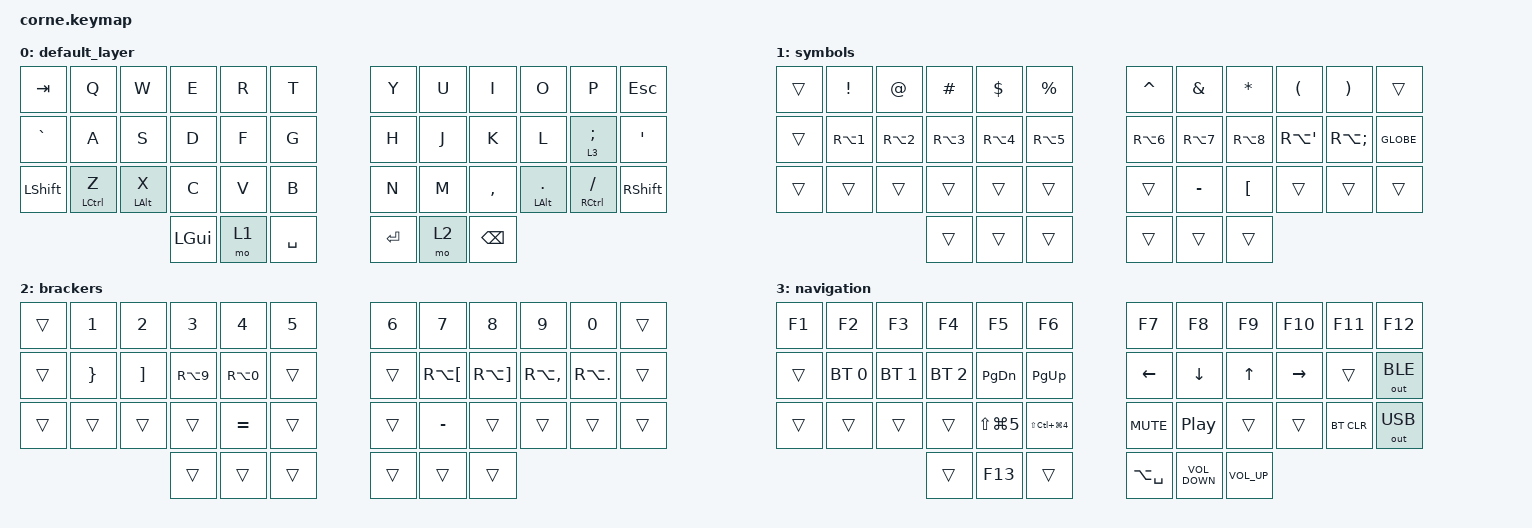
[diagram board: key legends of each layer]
/*
 * Copyright (c) 2020 The ZMK Contributors
 *
 * SPDX-License-Identifier: MIT
 */

#include <behaviors.dtsi>
#include <dt-bindings/zmk/bt.h>
#include <dt-bindings/zmk/keys.h>
#include <dt-bindings/zmk/outputs.h>

&mt {
    tapping-term-ms = <300>;
    flavor = "balanced";
    require-prior-idle-ms = <125>;
};

/ {
    combos {
        compatible = "zmk,combos";

        soft-off {
            bindings = <&soft_off>;
            key-positions = <1 2>;
            layers = <3>;
        };

        escape {
            bindings = <&kp ESCAPE>;
            key-positions = <19 20>;
            layers = <0>;
        };

        escape-left {
            bindings = <&kp ESCAPE>;
            key-positions = <0 1>;
            layers = <0>;
        };
    };

    behaviors {
        bspc_del: backspace_delete {
            compatible = "zmk,behavior-mod-morph";
            label = "BCPS_DEL";
            #binding-cells = <0>;
            bindings = <&kp BACKSPACE>, <&kp DELETE>;

            mods = <(MOD_LSFT|MOD_RSFT)>;
            keep-mods = <(MOD_RSFT)>;
        };
    };

    keymap {
        compatible = "zmk,keymap";

        default_layer {
            // -----------------------------------------------------------------------------------------
            // |  TAB |  Q  |  W  |  E  |  R  |  T  |   |  Y  |  U   |  I  |  O  |  P  | BSPC |
            // | CTRL |  A  |  S  |  D  |  F  |  G  |   |  H  |  J   |  K  |  L  |  ;  |  '   |
            // | SHFT |  Z  |  X  |  C  |  V  |  B  |   |  N  |  M   |  ,  |  .  |  /  | ESC  |
            //                    | GUI | LWR | SPC |   | ENT | RSE  | ALT |

            bindings = <
&kp TAB    &kp Q        &kp W           &kp E     &kp R  &kp T        &kp Y    &kp U  &kp I          &kp O             &kp P            &kp ESCAPE
&kp GRAVE  &kp A        &kp S           &kp D     &kp F  &kp G        &kp H    &kp J  &kp K          &kp L             &lt 3 SEMI       &kp SINGLE_QUOTE
&kp LSHFT  &mt LCTRL Z  &mt LEFT_ALT X  &kp C     &kp V  &kp B        &kp N    &kp M  &kp COMMA      &mt LEFT_ALT DOT  &mt RCTRL SLASH  &kp RIGHT_SHIFT
                                        &kp LGUI  &mo 1  &kp SPACE    &kp RET  &mo 2  &kp BACKSPACE
            >;
        };

        symbols {
            // -----------------------------------------------------------------------------------------
            // |  TAB |  1  |  2  |  3  |  4  |  5  |   |  6  |  7  |  8  |  9  |  0  | BSPC |
            // | BTCLR| BT1 | BT2 | BT3 | BT4 | BT5 |   | LFT | DWN |  UP | RGT |     |      |
            // | SHFT |     |     |     |     |     |   |     |     |     |     |     |      |
            //                    | GUI |     | SPC |   | ENT |     | ALT |

            bindings = <
&trans  &kp EXCLAMATION   &kp AT_SIGN       &kp POUND         &kp DOLLAR        &kp PERCENT         &kp CARET         &kp AMPERSAND     &kp ASTERISK      &kp LEFT_PARENTHESIS  &kp RIGHT_PARENTHESIS  &trans
&trans  &kp RA(NUMBER_1)  &kp RA(NUMBER_2)  &kp RA(NUMBER_3)  &kp RA(NUMBER_4)  &kp RA(NUMBER_5)    &kp RA(NUMBER_6)  &kp RA(NUMBER_7)  &kp RA(NUMBER_8)  &kp RA(SINGLE_QUOTE)  &kp RA(SEMICOLON)      &kp GLOBE
&trans  &trans            &trans            &trans            &trans            &trans              &trans            &kp MINUS         &kp LEFT_BRACKET  &trans                &trans                 &trans
                                            &trans            &trans            &trans              &trans            &trans            &trans
            >;
        };

        brackers {
            // -----------------------------------------------------------------------------------------
            // |  TAB |  !  |  @  |  #  |  $  |  %  |   |  ^  |  &  |  *  |  (  |  )  | BSPC |
            // | CTRL |     |     |     |     |     |   |  -  |  =  |  [  |  ]  |  \  |  `   |
            // | SHFT |     |     |     |     |     |   |  _  |  +  |  {  |  }  | "|" |  ~   |
            //                    | GUI |     | SPC |   | ENT |     | ALT |

            bindings = <
&trans  &kp NUMBER_1     &kp NUMBER_2       &kp NUMBER_3      &kp NUMBER_4      &kp N5    &kp NUMBER_6  &kp NUMBER_7          &kp NUMBER_8           &kp NUMBER_9   &kp NUMBER_0    &trans
&trans  &kp RIGHT_BRACE  &kp RIGHT_BRACKET  &kp RA(NUMBER_9)  &kp RA(NUMBER_0)  &trans    &trans        &kp RA(LEFT_BRACKET)  &kp RA(RIGHT_BRACKET)  &kp RA(COMMA)  &kp RA(PERIOD)  &trans
&trans  &trans           &trans             &trans            &kp EQUAL         &trans    &trans        &kp MINUS             &trans                 &trans         &trans          &trans
                                            &trans            &trans            &trans    &trans        &trans                &trans
            >;
        };

        navigation {
            bindings = <
&kp F1  &kp F2        &kp F3        &kp F4        &kp F5          &kp F6                      &kp F7          &kp F8             &kp F9           &kp F10          &kp F11     &kp F12
&trans  &bt BT_SEL 0  &bt BT_SEL 1  &bt BT_SEL 2  &kp PAGE_DOWN   &kp PG_UP                   &kp LEFT_ARROW  &kp DOWN_ARROW     &kp UP_ARROW     &kp RIGHT_ARROW  &trans      &out OUT_BLE
&trans  &trans        &trans        &trans        &kp LS(LG(N5))  &kp LS(LC(LG(NUMBER_4)))    &kp K_MUTE      &kp C_PLAY_PAUSE   &trans           &trans           &bt BT_CLR  &out OUT_USB
                                    &trans        &kp F13         &trans                      &kp LA(SPACE)   &kp C_VOLUME_DOWN  &kp C_VOLUME_UP
            >;
        };
    };
};
